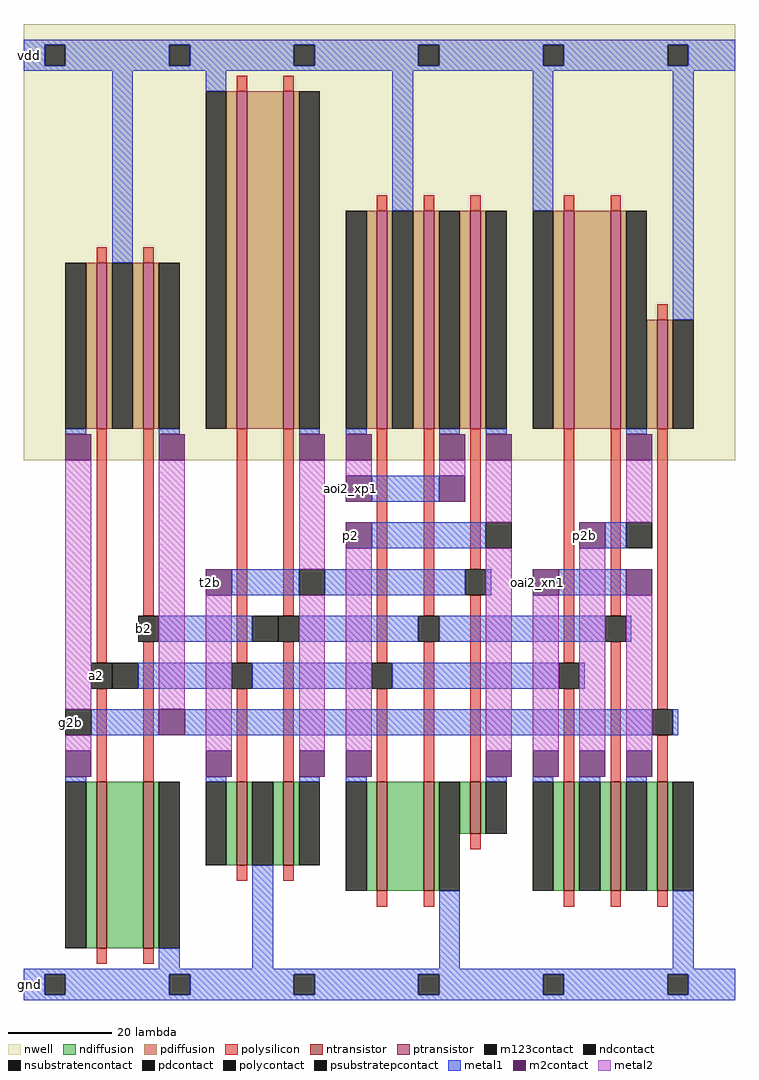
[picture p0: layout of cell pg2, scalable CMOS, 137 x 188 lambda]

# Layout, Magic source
magic
tech scmos
<< nwell >>
rect 0 104 137 188
<< ntransistor >>
rect 14 10 16 42
rect 23 10 25 42
rect 41 26 43 42
rect 50 26 52 42
rect 68 21 70 42
rect 77 21 79 42
rect 86 32 88 42
rect 104 21 106 42
rect 113 21 115 42
rect 122 21 124 42
<< ptransistor >>
rect 14 110 16 142
rect 23 110 25 142
rect 41 110 43 175
rect 50 110 52 175
rect 68 110 70 152
rect 77 110 79 152
rect 86 110 88 152
rect 104 110 106 152
rect 113 110 115 152
rect 122 110 124 131
<< ndiffusion >>
rect 12 10 14 42
rect 16 10 23 42
rect 25 10 26 42
rect 39 26 41 42
rect 43 26 44 42
rect 48 26 50 42
rect 52 26 53 42
rect 66 21 68 42
rect 70 21 77 42
rect 79 21 80 42
rect 84 32 86 42
rect 88 32 89 42
rect 102 21 104 42
rect 106 21 107 42
rect 111 21 113 42
rect 115 21 116 42
rect 120 21 122 42
rect 124 21 125 42
<< pdiffusion >>
rect 12 110 14 142
rect 16 110 17 142
rect 21 110 23 142
rect 25 110 26 142
rect 39 110 41 175
rect 43 110 50 175
rect 52 110 53 175
rect 66 110 68 152
rect 70 110 71 152
rect 75 110 77 152
rect 79 110 80 152
rect 84 110 86 152
rect 88 110 89 152
rect 102 110 104 152
rect 106 110 113 152
rect 115 110 116 152
rect 120 110 122 131
rect 124 110 125 131
<< ndcontact >>
rect 8 10 12 42
rect 26 10 30 42
rect 35 26 39 42
rect 44 26 48 42
rect 53 26 57 42
rect 62 21 66 42
rect 80 21 84 42
rect 89 32 93 42
rect 98 21 102 42
rect 107 21 111 42
rect 116 21 120 42
rect 125 21 129 42
<< pdcontact >>
rect 8 110 12 142
rect 17 110 21 142
rect 26 110 30 142
rect 35 110 39 175
rect 53 110 57 175
rect 62 110 66 152
rect 71 110 75 152
rect 80 110 84 152
rect 89 110 93 152
rect 98 110 102 152
rect 116 110 120 152
rect 125 110 129 131
<< psubstratepcontact >>
rect 4 1 8 5
rect 28 1 32 5
rect 52 1 56 5
rect 76 1 80 5
rect 100 1 104 5
rect 124 1 128 5
<< nsubstratencontact >>
rect 4 180 8 184
rect 28 180 32 184
rect 52 180 56 184
rect 76 180 80 184
rect 100 180 104 184
rect 124 180 128 184
<< polysilicon >>
rect 41 175 43 178
rect 50 175 52 178
rect 14 142 16 145
rect 23 142 25 145
rect 68 152 70 155
rect 77 152 79 155
rect 86 152 88 155
rect 104 152 106 155
rect 113 152 115 155
rect 122 131 124 134
rect 14 65 16 110
rect 23 74 25 110
rect 14 42 16 60
rect 23 42 25 69
rect 41 65 43 110
rect 50 74 52 110
rect 41 42 43 60
rect 50 42 52 69
rect 68 65 70 110
rect 77 74 79 110
rect 86 83 88 110
rect 68 42 70 60
rect 77 42 79 69
rect 86 42 88 78
rect 104 65 106 110
rect 113 74 115 110
rect 104 42 106 60
rect 113 42 115 69
rect 122 56 124 110
rect 122 42 124 51
rect 41 23 43 26
rect 50 23 52 26
rect 86 29 88 32
rect 68 18 70 21
rect 77 18 79 21
rect 104 18 106 21
rect 113 18 115 21
rect 122 18 124 21
rect 14 7 16 10
rect 23 7 25 10
<< polycontact >>
rect 22 69 26 74
rect 13 60 17 65
rect 49 69 53 74
rect 40 60 44 65
rect 85 78 89 83
rect 76 69 80 74
rect 67 60 71 65
rect 112 69 116 74
rect 103 60 107 65
rect 121 51 125 56
<< metal1 >>
rect 0 184 137 185
rect 0 180 4 184
rect 8 180 28 184
rect 32 180 52 184
rect 56 180 76 184
rect 80 180 100 184
rect 104 180 124 184
rect 128 180 137 184
rect 0 179 137 180
rect 17 142 21 179
rect 35 175 39 179
rect 71 152 75 179
rect 98 152 102 179
rect 8 109 12 110
rect 26 109 30 110
rect 53 109 57 110
rect 62 109 66 110
rect 80 109 84 110
rect 125 131 129 179
rect 89 109 93 110
rect 116 109 120 110
rect 67 96 80 101
rect 67 87 89 92
rect 112 87 116 92
rect 40 78 53 83
rect 58 78 85 83
rect 89 78 90 83
rect 103 78 116 83
rect 26 69 44 74
rect 53 69 76 74
rect 80 69 112 74
rect 116 69 117 74
rect 22 60 40 65
rect 44 60 67 65
rect 71 60 103 65
rect 107 60 108 65
rect 13 51 26 56
rect 31 51 121 56
rect 125 51 126 56
rect 8 42 12 43
rect 35 42 39 43
rect 53 42 57 43
rect 62 42 66 43
rect 89 42 93 43
rect 26 6 30 10
rect 44 6 48 26
rect 98 42 102 43
rect 107 42 111 43
rect 116 42 120 43
rect 80 6 84 21
rect 125 6 129 21
rect 0 5 137 6
rect 0 1 4 5
rect 8 1 28 5
rect 32 1 52 5
rect 56 1 76 5
rect 80 1 100 5
rect 104 1 124 5
rect 128 1 137 5
rect 0 0 137 1
<< m2contact >>
rect 8 104 13 109
rect 26 104 31 109
rect 53 104 58 109
rect 62 104 67 109
rect 80 104 85 109
rect 89 104 94 109
rect 116 104 121 109
rect 62 96 67 101
rect 80 96 85 101
rect 62 87 67 92
rect 107 87 112 92
rect 35 78 40 83
rect 98 78 103 83
rect 116 78 121 83
rect 26 51 31 56
rect 8 43 13 48
rect 35 43 40 48
rect 53 43 58 48
rect 62 43 67 48
rect 89 43 94 48
rect 98 43 103 48
rect 107 43 112 48
rect 116 43 121 48
<< metal2 >>
rect 8 56 13 104
rect 26 56 31 104
rect 53 83 58 104
rect 62 101 67 104
rect 80 101 85 104
rect 89 92 94 104
rect 116 92 121 104
rect 8 48 13 51
rect 35 48 40 78
rect 53 48 58 78
rect 62 48 67 87
rect 89 48 94 87
rect 98 48 103 78
rect 107 48 112 87
rect 116 48 121 78
<< m123contact >>
rect 17 60 22 65
rect 8 51 13 56
rect 53 78 58 83
rect 44 69 49 74
rect 89 87 94 92
rect 116 87 121 92
<< labels >>
rlabel metal1 13 60 15 65 0 a2
port 1 nsew
rlabel metal1 22 69 24 74 0 b2
port 2 nsew
rlabel metal1 8 51 10 56 0 g2b
port 3 nsew
rlabel m2contact 62 87 64 92 0 p2
port 4 nsew
rlabel m2contact 107 87 109 92 0 p2b
port 5 nsew
rlabel m2contact 35 78 37 83 0 t2b
port 6 nsew
rlabel m2contact 62 96 64 101 0 aoi2_xp1
rlabel m2contact 98 78 100 83 0 oai2_xn1
rlabel metal1 0 179 2 185 0 vdd
port 7 nsew
rlabel metal1 0 0 2 6 0 gnd
port 8 nsew
<< end >>
